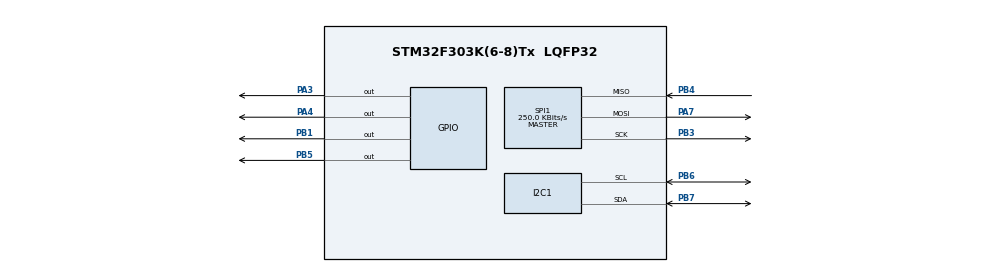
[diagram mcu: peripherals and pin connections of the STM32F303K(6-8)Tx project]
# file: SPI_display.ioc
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I2C1.OwnAddress=1
Mcu.Family=STM32F3
Mcu.Name=STM32F303K(6-8)Tx
Mcu.Package=LQFP32
NVIC.I2C1_ER_IRQn=true\:0\:0\:false\:false\:true\:true\:true\:true
NVIC.I2C1_EV_IRQn=true\:0\:0\:false\:false\:true\:true\:true\:true
NVIC.PriorityGroup=NVIC_PRIORITYGROUP_4
NVIC.SPI1_IRQn=true\:0\:0\:false\:false\:true\:true\:true\:true
PA3.Signal=GPIO_Output
PA4.Signal=GPIO_Output
PA7.Mode=Full_Duplex_Master
PA7.Signal=SPI1_MOSI
PB1.Signal=GPIO_Output
PB3.Mode=Full_Duplex_Master
PB3.Signal=SPI1_SCK
PB4.Mode=Full_Duplex_Master
PB4.Signal=SPI1_MISO
PB5.Signal=GPIO_Output
PB6.Mode=I2C
PB6.Signal=I2C1_SCL
PB7.Mode=I2C
PB7.Signal=I2C1_SDA
ProjectManager.HeapSize=0x200
ProjectManager.StackSize=0x400
ProjectManager.TargetToolchain=STM32CubeIDE
RCC.AHBFreq_Value=8000000
RCC.APB1Freq_Value=8000000
RCC.APB2Freq_Value=8000000
RCC.CortexFreq_Value=8000000
RCC.HSE_VALUE=8000000
RCC.HSI_VALUE=8000000
RCC.SYSCLKFreq_VALUE=8000000
SPI1.BaudRatePrescaler=SPI_BAUDRATEPRESCALER_32
SPI1.CalculateBaudRate=250.0 KBits/s
SPI1.DataSize=SPI_DATASIZE_8BIT
SPI1.Direction=SPI_DIRECTION_2LINES
SPI1.Mode=SPI_MODE_MASTER
SPI1.NSSPMode=SPI_NSS_PULSE_DISABLE
SPI1.VirtualType=VM_MASTER
board=custom

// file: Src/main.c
/* USER CODE BEGIN Header */
/**
  ******************************************************************************
  * @file           : main.c
  * @brief          : Main program body
  ******************************************************************************
  * @attention
  *
  * <h2><center>&copy; Copyright (c) 2019 STMicroelectronics.
  * All rights reserved.</center></h2>
  *
  * This software component is licensed by ST under BSD 3-Clause license,
  * the "License"; You may not use this file except in compliance with the
  * License. You may obtain a copy of the License at:
  *                        opensource.org/licenses/BSD-3-Clause
  *
  ******************************************************************************
  */
/* USER CODE END Header */

#include "main.h"
#include "i2c.h"
#include "gpio.h"
#include "lis3mdltr.h"
#include "lsm6ds0.h"
#include "stdio.h"
#include "string.h"
#include "dma.h"
#include "hts221.h"
#include "lps22hb.h"
#include <math.h>
#include "ili9163.h"
#include "spi.h"
#include "predictw.h"

/* USER CODE BEGIN PV */

char formated_temp[50];
char formated_pressure[50];
char formated_forecast[50];
int last_forecast = 0;

/* USER CODE END PV */

void SystemClock_Config(void);

/* USER CODE BEGIN PFP */
void DrawSun(void);
/* USER CODE END PFP */

/* USER CODE BEGIN 0 */
uint8_t rx_data = 0;
/* USER CODE END 0 */

int main(void)
{

  /* MCU Configuration--------------------------------------------------------*/

  /* Reset of all peripherals, Initializes the Flash interface and the Systick. */

  LL_APB2_GRP1_EnableClock(LL_APB2_GRP1_PERIPH_SYSCFG);
  LL_APB1_GRP1_EnableClock(LL_APB1_GRP1_PERIPH_PWR);

  NVIC_SetPriorityGrouping(NVIC_PRIORITYGROUP_4);

  /* System interrupt init*/

  /* USER CODE BEGIN Init */
uint8_t state;
  /* USER CODE END Init */

  /* Configure the system clock */
  SystemClock_Config();

  /* Initialize all configured peripherals */
  MX_GPIO_Init();
  MX_I2C1_Init();
  MX_SPI1_Init();
  /* USER CODE BEGIN 2 */

  lsm6ds0_init();
  hts221_init();
  lps22hb_init();
  lis3mdl_init();

  initCD_Pin();
   initCS_Pin();
   initRES_Pin();

   LL_mDelay(50);

   lcdInitialise(LCD_ORIENTATION3);
   lcdClearDisplay(decodeRgbValue(0, 0, 0));

  /* USER CODE END 2 */

  /* Infinite loop */
  /* USER CODE BEGIN WHILE */
  while (1)
  {	  // setup & info

	  state = weather();

	  memset(formated_temp, '\0', sizeof(formated_temp));
	  memset(formated_pressure, '\0', sizeof(formated_pressure));
	  memset(formated_forecast, '\0', sizeof(formated_forecast));
	  sprintf(formated_temp, "Temp [C]: %0.1f", hts221_get_temp());
	  sprintf(formated_pressure, "Press [Pa]: %0.1f", lps22hb_get_pressure());

	  LL_mDelay(200);

	  lcdPutS(formated_temp, lcdTextX(2), lcdTextY(3), decodeRgbValue(255, 255, 255), decodeRgbValue(0, 0, 0));
	  lcdPutS(formated_pressure, lcdTextX(2), lcdTextY(3)+10, decodeRgbValue(255, 255, 255), decodeRgbValue(0, 0, 0));

	  // forecast
	  if((state==1) && (last_forecast != 1))
	  {
		  lcdClearDisplay(decodeRgbValue(0, 0, 0));
		  LL_mDelay(1000);
		  DrawSunny();
		  sprintf(formated_forecast, "SUNNY");
		  lcdPutS(formated_forecast, lcdTextX(2)+40, lcdTextY(3)+25, decodeRgbValue(255, 255, 255), decodeRgbValue(0, 0, 0));
		  last_forecast = 1;
	  }

	  if((state==2)&& (last_forecast != 2))
	  	  {
		  lcdClearDisplay(decodeRgbValue(0, 0, 0));
		  LL_mDelay(1000);
		  DrawCloudySunny();
		  sprintf(formated_forecast, "PARTIALLY CLOUDY");
		  lcdPutS(formated_forecast, lcdTextX(2)+8, lcdTextY(3)+25, decodeRgbValue(255, 255, 255), decodeRgbValue(0, 0, 0));
		  last_forecast = 2;
	  	  }

	  if((state==3)&& (last_forecast != 3))
	  	  {
	  		lcdClearDisplay(decodeRgbValue(0, 0, 0));
	  		LL_mDelay(1000);
	  		DrawCloudy();
	  		sprintf(formated_forecast, "CLOUDY");
	  		lcdPutS(formated_forecast, lcdTextX(2)+36, lcdTextY(3)+25, decodeRgbValue(255, 255, 255), decodeRgbValue(0, 0, 0));
	  	  	last_forecast = 3;
	  	  	  }

	  if((state==4)&& (last_forecast != 4))
	  	  {
	  		lcdClearDisplay(decodeRgbValue(0, 0, 0));
	  		LL_mDelay(1000);
		  	DrawWorsening();
		  	sprintf(formated_forecast, "Worsening");
		  	lcdPutS(formated_forecast, lcdTextX(2)+28, lcdTextY(3)+25, decodeRgbValue(255, 255, 255), decodeRgbValue(0, 0, 0));
		  	last_forecast = 4;
	  	  	  	  }

	  if((state==5)&& (last_forecast != 5) && (hts221_get_temp() >= 0) )
	 // if((state==5)&& (last_forecast != 5)&& (temp2 >= 0))
	  	  {
	  		lcdClearDisplay(decodeRgbValue(0, 0, 0));
	  		LL_mDelay(1000);
	  	  	DrawRaining();
	  	  	sprintf(formated_forecast, "Raining");
	  	  	lcdPutS(formated_forecast, lcdTextX(2)+35, lcdTextY(3)+25, decodeRgbValue(255, 255, 255), decodeRgbValue(0, 0, 0));
	  	  	last_forecast = 5;
	  	  	 }

	  if((state==5)&& (last_forecast != 5)&& (hts221_get_temp() < 0))
	//  if((state==5)&& (last_forecast != 5)&& (temp2 < 0))
	  	  	  {
	  	  		lcdClearDisplay(decodeRgbValue(0, 0, 0));
	  	  		LL_mDelay(1000);
	  	  	  	DrawSnow();
	  	  	  	sprintf(formated_forecast, "Snowing");
	  	  	  	lcdPutS(formated_forecast, lcdTextX(2)+35, lcdTextY(3)+25, decodeRgbValue(255, 255, 255), decodeRgbValue(0, 0, 0));
	  	  	  	last_forecast = 5;
	  	  	  	 }

	  LL_mDelay(1000);
    /* USER CODE END WHILE */

  }
}

void SystemClock_Config(void)
{
  LL_FLASH_SetLatency(LL_FLASH_LATENCY_0);

  if(LL_FLASH_GetLatency() != LL_FLASH_LATENCY_0)
  {
  Error_Handler();
  }
  LL_RCC_HSI_Enable();

   /* Wait till HSI is ready */
  while(LL_RCC_HSI_IsReady() != 1)
  {

  }
  LL_RCC_HSI_SetCalibTrimming(16);
  LL_RCC_SetAHBPrescaler(LL_RCC_SYSCLK_DIV_1);
  LL_RCC_SetAPB1Prescaler(LL_RCC_APB1_DIV_1);
  LL_RCC_SetAPB2Prescaler(LL_RCC_APB1_DIV_1);
  LL_RCC_SetSysClkSource(LL_RCC_SYS_CLKSOURCE_HSI);

   /* Wait till System clock is ready */
  while(LL_RCC_GetSysClkSource() != LL_RCC_SYS_CLKSOURCE_STATUS_HSI)
  {

  }
  LL_Init1msTick(8000000);
  LL_SYSTICK_SetClkSource(LL_SYSTICK_CLKSOURCE_HCLK);
  LL_SetSystemCoreClock(8000000);
  LL_RCC_SetI2CClockSource(LL_RCC_I2C1_CLKSOURCE_HSI);
}

/* USER CODE BEGIN 4 */
void DrawSunny(void){

	for(int i=12; i>0;i--){
		lcdCircle(64, 85, i, decodeRgbValue(255, 255, 51));
	}

	lcdLine(64, 65, 64, 105, decodeRgbValue(255, 255, 51));
	lcdLine(42, 85, 85, 85, decodeRgbValue(255, 255, 51));
	lcdLine(50, 70, 79, 99, decodeRgbValue(255, 255, 51));
	lcdLine(49, 100, 80, 70, decodeRgbValue(255, 255, 51));
}

void DrawCloudySunny(void){
	//sun
	for(int i=12; i>0;i--){
			lcdCircle(64, 85, i, decodeRgbValue(255, 255, 51));
		}

	for(int i=10; i>0;i--){
					lcdCircle(54, 100, i, decodeRgbValue(255, 255, 51));
					lcdCircle(74, 100, i, decodeRgbValue(255, 255, 51));
	}

	for(int i=8; i>0;i--){

				lcdCircle(64, 105, i, decodeRgbValue(255, 255, 255));
				lcdCircle(44, 105, i, decodeRgbValue(255, 255, 255));
				lcdCircle(84, 105, i, decodeRgbValue(255, 255, 255));
			}

		lcdLine(64, 65, 64, 82, decodeRgbValue(255, 255, 255));
		lcdLine(42, 85, 85, 85, decodeRgbValue(255, 255, 255));
		lcdLine(50, 70, 79, 99, decodeRgbValue(255, 255, 255));
		lcdLine(49, 100, 80, 70, decodeRgbValue(255, 255, 255));
}

void DrawCloudy(void){

	for(int i=10; i>0;i--){
					lcdCircle(54, 100, i, decodeRgbValue(255, 255, 255));
					lcdCircle(74, 100, i, decodeRgbValue(255, 255, 255));
	}

	for(int i=8; i>0;i--){

				lcdCircle(64, 105, i, decodeRgbValue(255, 255, 255));
				lcdCircle(44, 105, i, decodeRgbValue(255, 255, 255));
				lcdCircle(84, 105, i, decodeRgbValue(255, 255, 255));
			}
}

void DrawWorsening(void){

	for(int i=10; i>0;i--){
					lcdCircle(54, 100, i, decodeRgbValue(255, 255, 255));
					lcdCircle(74, 100, i, decodeRgbValue(255, 255, 255));
					lcdCircle(94, 100, i, decodeRgbValue(255, 255, 255));
					lcdCircle(34, 100, i, decodeRgbValue(255, 255, 255));
	}

	for(int i=8; i>0;i--){

				lcdCircle(64, 105, i, decodeRgbValue(255, 255, 255));
				lcdCircle(44, 105, i, decodeRgbValue(255, 255, 255));
				lcdCircle(84, 105, i, decodeRgbValue(255, 255, 255));
				lcdCircle(104, 105, i, decodeRgbValue(255, 255, 255));
				lcdCircle(24, 105, i, decodeRgbValue(255, 255, 255));
			}
}

void DrawRaining(void){

	for(int i=10; i>0;i--){ // big circles
						lcdCircle(54, 100, i, decodeRgbValue(255, 255, 255));
						lcdCircle(74, 100, i, decodeRgbValue(255, 255, 255));
						lcdCircle(94, 100, i, decodeRgbValue(255, 255, 255));
						lcdCircle(34, 100, i, decodeRgbValue(255, 255, 255));
		}

		for(int i=8; i>0;i--){ // small circles

					lcdCircle(64, 105, i, decodeRgbValue(255, 255, 255));
					lcdCircle(44, 105, i, decodeRgbValue(255, 255, 255));
					lcdCircle(84, 105, i, decodeRgbValue(255, 255, 255));
					lcdCircle(104, 105, i, decodeRgbValue(255, 255, 255));
					lcdCircle(24, 105, i, decodeRgbValue(255, 255, 255));
				}

		// rain
		lcdLine(24, 118, 24, 124, decodeRgbValue(0, 0, 255));
		lcdLine(34, 114, 34, 122, decodeRgbValue(0, 0, 255));
		lcdLine(44, 118, 44, 124, decodeRgbValue(0, 0, 255));
		lcdLine(54, 114, 54, 122, decodeRgbValue(0, 0, 255));
		lcdLine(64, 118, 64, 124, decodeRgbValue(0, 0, 255));
		lcdLine(74, 114, 74, 122, decodeRgbValue(0, 0, 255));
		lcdLine(84, 118, 84, 124, decodeRgbValue(0, 0, 255));
		lcdLine(94, 114, 94, 122, decodeRgbValue(0, 0, 255));
		lcdLine(104, 118, 104, 124, decodeRgbValue(0, 0, 255));

	}

void DrawSnow(void){

	lcdCircle(64, 85, 12, decodeRgbValue(0, 0, 255));
	lcdCircle(64, 85, 7, decodeRgbValue(0, 0, 255));
	lcdCircle(64, 85, 2, decodeRgbValue(0, 0, 255));

	lcdLine(64, 65, 64, 105, decodeRgbValue(0, 0, 255));
	lcdLine(42, 85, 85, 85, decodeRgbValue(0, 0, 255));
	lcdLine(50, 70, 79, 99, decodeRgbValue(0, 0, 255));
	lcdLine(49, 100, 80, 70, decodeRgbValue(0, 0, 255));
}

/* USER CODE END 4 */

void Error_Handler(void)
{
}

/************************ (C) COPYRIGHT STMicroelectronics *****END OF FILE****/
